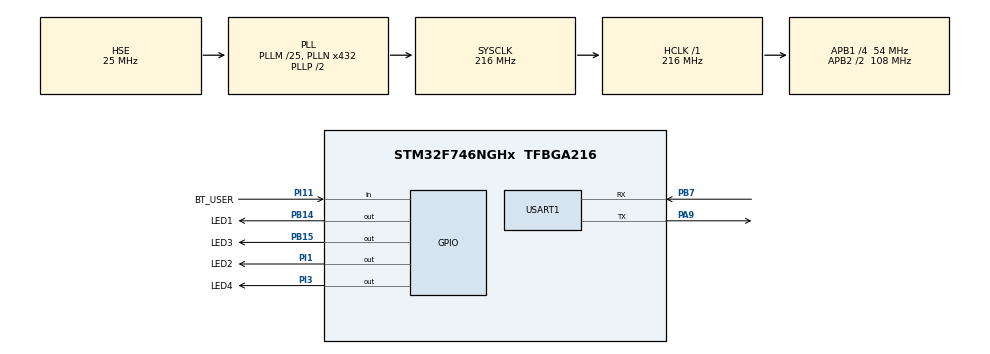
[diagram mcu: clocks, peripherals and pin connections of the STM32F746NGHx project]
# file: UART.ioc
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CORTEX_M7.ART_ACCELERATOR_ENABLE=0
CORTEX_M7.CPU_DCache=Disabled
CORTEX_M7.CPU_ICache=Disabled
CORTEX_M7.PREFETCH_ENABLE=0
Mcu.Family=STM32F7
Mcu.Name=STM32F746NGHx
Mcu.Package=TFBGA216
NVIC.PriorityGroup=NVIC_PRIORITYGROUP_4
NVIC.USART1_IRQn=true\:0\:0\:false\:false\:true\:true\:true\:true
PA13.Mode=Serial_Wire
PA13.Signal=SYS_JTMS-SWDIO
PA14.Mode=Serial_Wire
PA14.Signal=SYS_JTCK-SWCLK
PA9.Mode=Asynchronous
PA9.Signal=USART1_TX
PB14.GPIO_Label=LED1
PB14.PinState=GPIO_PIN_SET
PB14.Signal=GPIO_Output
PB15.GPIO_Label=LED3
PB15.PinState=GPIO_PIN_SET
PB15.Signal=GPIO_Output
PB7.Mode=Asynchronous
PB7.Signal=USART1_RX
PH0/OSC_IN.Mode=HSE-External-Oscillator
PH0/OSC_IN.Signal=RCC_OSC_IN
PH1/OSC_OUT.Mode=HSE-External-Oscillator
PH1/OSC_OUT.Signal=RCC_OSC_OUT
PI1.GPIO_Label=LED2
PI1.PinState=GPIO_PIN_SET
PI1.Signal=GPIO_Output
PI11.GPIO_Label=BT_USER
PI11.Signal=GPIO_Input
PI3.GPIO_Label=LED4
PI3.PinState=GPIO_PIN_SET
PI3.Signal=GPIO_Output
ProjectManager.HeapSize=0x2000
ProjectManager.StackSize=0x4000
ProjectManager.TargetToolchain=STM32CubeIDE
RCC.AHBFreq_Value=216000000
RCC.APB1CLKDivider=RCC_HCLK_DIV4
RCC.APB1Freq_Value=54000000
RCC.APB1TimFreq_Value=108000000
RCC.APB2CLKDivider=RCC_HCLK_DIV2
RCC.APB2Freq_Value=108000000
RCC.APB2TimFreq_Value=216000000
RCC.CortexFreq_Value=216000000
RCC.HCLKFreq_Value=216000000
RCC.HSE_VALUE=25000000
RCC.HSI_VALUE=16000000
RCC.LSE_VALUE=32768
RCC.PLLI2SN=100
RCC.PLLM=25
RCC.PLLN=432
RCC.PLLSourceVirtual=RCC_PLLSOURCE_HSE
RCC.SYSCLKFreq_VALUE=216000000
RCC.SYSCLKSource=RCC_SYSCLKSOURCE_PLLCLK
RCC.USBFreq_Value=216000000
RCC.VCOOutputFreq_Value=432000000
USART1.VirtualMode-Asynchronous=VM_ASYNC
VP_CRC_VS_CRC.Mode=CRC_Activate
VP_DMA2D_VS_DMA2D.Mode=DMA2D_Activate
board=STM32F746G-DISCO

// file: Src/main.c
/* USER CODE BEGIN Header */
/**
  ******************************************************************************
  * @file           : main.c
  * @brief          : Main program body
  ******************************************************************************
  * @attention
  *
  * Copyright (c) 2023 STMicroelectronics.
  * All rights reserved.
  *
  * This software is licensed under terms that can be found in the LICENSE file
  * in the root directory of this software component.
  * If no LICENSE file comes with this software, it is provided AS-IS.
  *
  ******************************************************************************
  */
/* USER CODE END Header */
#include "main.h"
#include "crc.h"
#include "dma2d.h"
#include "usart.h"
#include "gpio.h"

/* USER CODE BEGIN Includes */
#include <stdbool.h>
#include "modbus_my.h"
/* USER CODE END Includes */

void SystemClock_Config(void);

int main(void)
{

  /* MCU Configuration--------------------------------------------------------*/

  /* Reset of all peripherals, Initializes the Flash interface and the Systick. */
  HAL_Init();

  /* Configure the system clock */
  SystemClock_Config();

  /* Initialize all configured peripherals */
  MX_GPIO_Init();
  MX_DMA2D_Init();
  MX_CRC_Init();
  MX_USART1_UART_Init();
  /* USER CODE BEGIN 2 */
  uartStartReceive();
  int16_t temperature = -100;
  uint16_t voltage = 0;
  /* USER CODE END 2 */

  /* Infinite loop */
  /* USER CODE BEGIN WHILE */
  while (true)
  {
    setTemperature(temperature);
    setVoltage(voltage);
    setButton1State(HAL_GPIO_ReadPin(BT_USER_GPIO_Port, BT_USER_Pin) == GPIO_PIN_SET);
    temperature++;
    if (temperature > 100)
    {
      temperature = -100;
    }
    voltage++;
    if (voltage > 100)
    {
      voltage = 0;
    }
    HAL_Delay(200);
    /* USER CODE END WHILE */

  }
}

void SystemClock_Config(void)
{
  RCC_OscInitTypeDef RCC_OscInitStruct = {0};
  RCC_ClkInitTypeDef RCC_ClkInitStruct = {0};

  /** Configure the main internal regulator output voltage
  */
  __HAL_RCC_PWR_CLK_ENABLE();
  __HAL_PWR_VOLTAGESCALING_CONFIG(PWR_REGULATOR_VOLTAGE_SCALE1);

  /** Initializes the RCC Oscillators according to the specified parameters
  * in the RCC_OscInitTypeDef structure.
  */
  RCC_OscInitStruct.OscillatorType = RCC_OSCILLATORTYPE_HSE;
  RCC_OscInitStruct.HSEState = RCC_HSE_ON;
  RCC_OscInitStruct.PLL.PLLState = RCC_PLL_ON;
  RCC_OscInitStruct.PLL.PLLSource = RCC_PLLSOURCE_HSE;
  RCC_OscInitStruct.PLL.PLLM = 25;
  RCC_OscInitStruct.PLL.PLLN = 432;
  RCC_OscInitStruct.PLL.PLLP = RCC_PLLP_DIV2;
  RCC_OscInitStruct.PLL.PLLQ = 2;
  if (HAL_RCC_OscConfig(&RCC_OscInitStruct) != HAL_OK)
  {
    Error_Handler();
  }

  /** Activate the Over-Drive mode
  */
  if (HAL_PWREx_EnableOverDrive() != HAL_OK)
  {
    Error_Handler();
  }

  /** Initializes the CPU, AHB and APB buses clocks
  */
  RCC_ClkInitStruct.ClockType = RCC_CLOCKTYPE_HCLK|RCC_CLOCKTYPE_SYSCLK
                              |RCC_CLOCKTYPE_PCLK1|RCC_CLOCKTYPE_PCLK2;
  RCC_ClkInitStruct.SYSCLKSource = RCC_SYSCLKSOURCE_PLLCLK;
  RCC_ClkInitStruct.AHBCLKDivider = RCC_SYSCLK_DIV1;
  RCC_ClkInitStruct.APB1CLKDivider = RCC_HCLK_DIV4;
  RCC_ClkInitStruct.APB2CLKDivider = RCC_HCLK_DIV2;

  if (HAL_RCC_ClockConfig(&RCC_ClkInitStruct, FLASH_LATENCY_7) != HAL_OK)
  {
    Error_Handler();
  }
}

void Error_Handler(void)
{
  __disable_irq();
  while (1)
  {
  }
}
